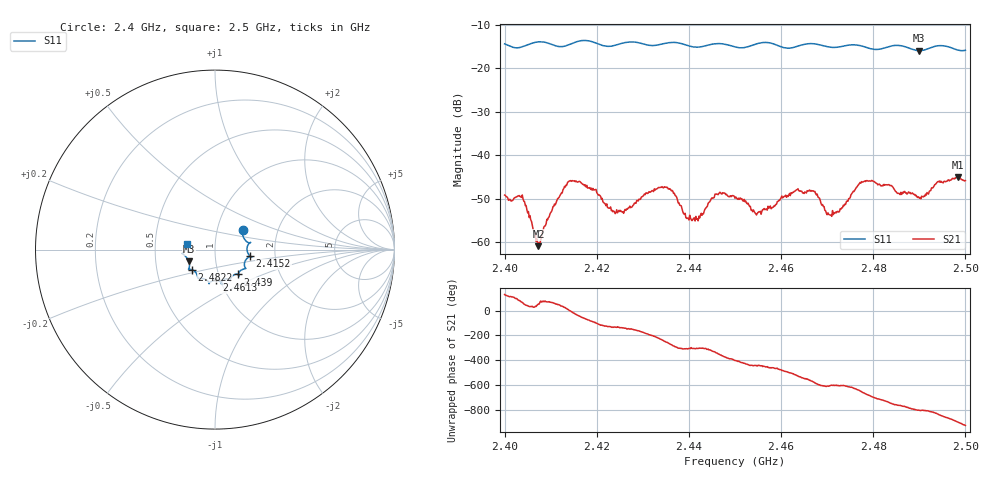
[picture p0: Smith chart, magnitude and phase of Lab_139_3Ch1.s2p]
# Hz S RI R 50
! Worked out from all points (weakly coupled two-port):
!   601 points, 2.4 GHz to 2.5 GHz, reference 50 ohm
!   highest |S21| = -45.04 dB at 2.4983 GHz (marker M1); lowest = -61.0 dB at 2.4073 GHz (marker M2)
!   lowest |S11| = -15.9 dB at 2.4898 GHz (marker M3), VSWR 1.38, Z = 37 - j5 ohm
!   |S11| at or under -10 dB: start of sweep to end of sweep
!   S12 and S22 are empty: the file has one direction only
!   S11 on the Smith chart (normalised r, x): 2.4 GHz: 1.33, +0.31; 2.4152 GHz: 1.48, -0.11; 2.439 GHz: 1.24, -0.36; 2.4613 GHz: 0.96, -0.34; 2.4822 GHz: 0.75, -0.17; 2.5 GHz: 0.73, +0.05
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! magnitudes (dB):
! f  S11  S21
! 2.4 GHz  -14.4  -49.2
! 2.4038 GHz  -15.0  -49.2
! 2.4073 GHz  -13.9  -61.0
! 2.4125 GHz  -15.0  -48.7
! 2.4152 GHz  -14.0  -45.9
! 2.4167 GHz  -13.6  -46.4
! 2.424 GHz  -14.7  -53.5
! 2.4333 GHz  -14.6  -47.5
! 2.4363 GHz  -14.0  -48.1
! 2.439 GHz  -14.5  -53.6
! 2.4462 GHz  -14.3  -49.0
! 2.45 GHz  -15.0  -49.9
! 2.4548 GHz  -14.3  -53.4
! 2.4613 GHz  -15.3  -49.3
! 2.4667 GHz  -14.3  -48.3
! 2.4705 GHz  -15.1  -53.7
! 2.4775 GHz  -14.8  -46.1
! 2.4822 GHz  -15.4  -47.1
! 2.4833 GHz  -15.0  -46.8
! 2.4898 GHz  -15.9  -49.6
! 2.4983 GHz  -15.8  -45.0
! 2.5 GHz  -15.8  -45.9
